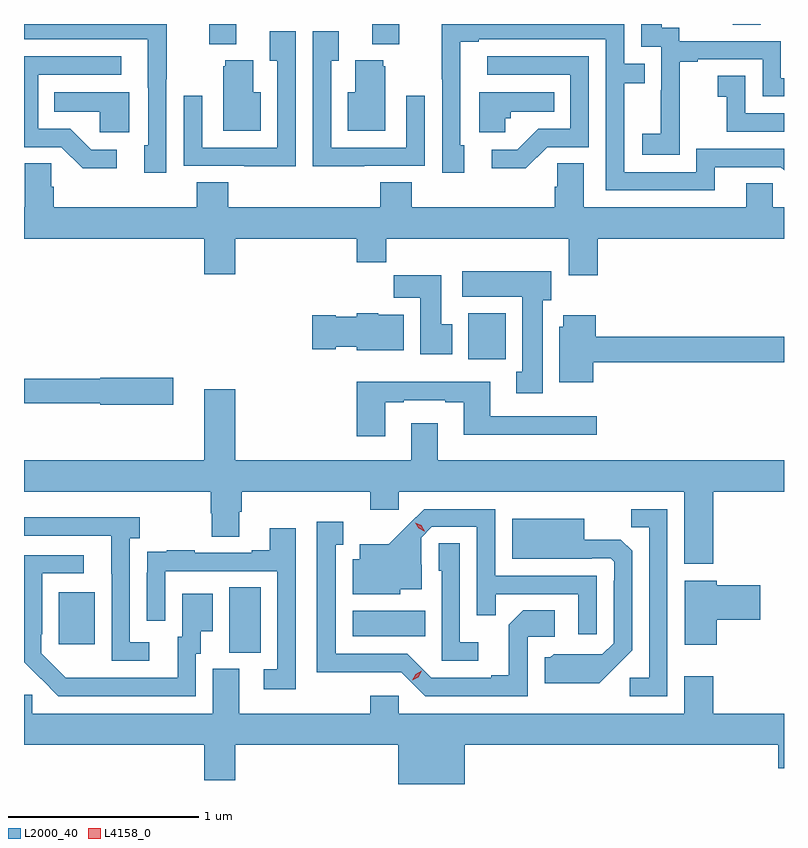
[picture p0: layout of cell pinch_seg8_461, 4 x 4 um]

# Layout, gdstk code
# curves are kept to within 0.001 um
import gdstk
lib = gdstk.Library(unit=1e-6, precision=1e-09)
def R(c, l, rs):  # rectangles x0, y0, x1, y1
    for r in rs: c.add(gdstk.rectangle(r[:2], r[2:], *l))
def P(c, l, *ps):  # polygons
    for p in ps: c.add(gdstk.Polygon(p, *l))
L2000_40 = (2000, 40)
L4158_0 = (4158, 0)

pinch_seg8_461 = lib.new_cell('pinch_seg8_461')
R(pinch_seg8_461, L2000_40, [(117.188,1128.973,117.352,1129.316), (116.291,1129.017,116.479,1129.291), (117.836,1129.058,118.22,1129.192), (118.445,1130.516,118.642,1130.758), (117.083,1132.175,117.223,1132.281), (117.941,1132.175,118.081,1132.281), (119.837,1132.276,119.985,1132.281)])
P(pinch_seg8_461, L2000_40, [(119.559,1131.799),(119.558,1131.799),(119.558,1132.083),(119.653,1132.083),(119.653,1132.095),(119.994,1132.095),(119.994,1131.9),(120.107,1131.9),(120.107,1131.996),(120.09,1131.996),(120.09,1132.191),(119.556,1132.191),(119.556,1132.26),(119.464,1132.26),(119.464,1132.281),(119.355,1132.281),(119.355,1132.161),(119.46,1132.161),(119.46,1131.932),(119.459,1131.932),(119.459,1131.703),(119.361,1131.703),(119.361,1131.593),(119.559,1131.593)],
  [(119.743,1131.528),(120.09,1131.528),(120.107,1131.511),(120.107,1131.624),(119.646,1131.624),(119.646,1131.501),(119.265,1131.501),(119.265,1131.97),(119.375,1131.97),(119.375,1132.071),(119.265,1132.071),(119.265,1132.281),(118.306,1132.281),(118.306,1131.991),(118.308,1131.991),(118.308,1131.498),(118.423,1131.498),(118.423,1131.642),(118.404,1131.642),(118.404,1132.188),(118.501,1132.188),(118.501,1132.2),(119.169,1132.2),(119.169,1131.405),(119.743,1131.405)],
  [(116.856,1131.991),(116.859,1131.991),(116.859,1132.281),(116.107,1132.281),(116.107,1132.2),(116.759,1132.2),(116.759,1131.946),(116.76,1131.946),(116.76,1131.642),(116.741,1131.642),(116.741,1131.498),(116.856,1131.498)],
  [(117.899,1131.534),(118.215,1131.534),(118.215,1131.904),(118.119,1131.904),(118.119,1131.63),(117.723,1131.63),(117.723,1132.087),(117.763,1132.087),(117.763,1132.243),(117.627,1132.243),(117.627,1131.533),(117.899,1131.533)],
  [(117.537,1132.243),(117.401,1132.243),(117.401,1132.087),(117.441,1132.087),(117.441,1131.63),(117.045,1131.63),(117.045,1131.904),(116.949,1131.904),(116.949,1131.534),(117.265,1131.534),(117.265,1131.533),(117.537,1131.533)],
  [(116.596,1131.618),(116.461,1131.618),(116.35,1131.729),(116.181,1131.729),(116.181,1132.014),(116.62,1132.014),(116.62,1132.11),(116.107,1132.11),(116.107,1131.633),(116.304,1131.633),(116.417,1131.521),(116.596,1131.521)],
  [(118.86,1131.633),(119.079,1131.633),(119.079,1132.11),(118.545,1132.11),(118.545,1132.014),(118.983,1132.014),(118.983,1131.729),(118.814,1131.729),(118.703,1131.618),(118.569,1131.618),(118.569,1131.521),(118.747,1131.521)],
  [(117.352,1131.922),(117.313,1131.922),(117.313,1132.09),(117.167,1132.09),(117.167,1132.059),(117.155,1132.059),(117.155,1131.719),(117.352,1131.719)],
  [(118.009,1132.059),(117.998,1132.059),(117.998,1132.09),(117.851,1132.09),(117.851,1131.922),(117.812,1131.922),(117.812,1131.719),(118.009,1131.719)],
  [(120.107,1131.81),(119.904,1131.81),(119.904,1132.009),(119.757,1132.009),(119.757,1131.899),(119.806,1131.899),(119.806,1131.714),(120.107,1131.714)],
  [(118.641,1131.786),(118.668,1131.786),(118.668,1131.818),(118.898,1131.818),(118.898,1131.922),(118.502,1131.922),(118.502,1131.71),(118.641,1131.71)],
  [(116.662,1131.922),(116.266,1131.922),(116.266,1131.818),(116.505,1131.818),(116.505,1131.71),(116.662,1131.71)],
  [(119.126,1131.152),(120.107,1131.152),(120.107,1131.316),(120.048,1131.316),(120.048,1131.443),(119.909,1131.443),(119.909,1131.316),(119.053,1131.316),(119.053,1131.548),(118.914,1131.548),(118.914,1131.425),(118.901,1131.425),(118.901,1131.316),(118.148,1131.316),(118.148,1131.449),(117.983,1131.449),(117.983,1131.316),(117.182,1131.316),(117.182,1131.449),(117.017,1131.449),(117.017,1131.316),(116.264,1131.316),(116.264,1131.425),(116.25,1131.425),(116.25,1131.548),(116.111,1131.548),(116.111,1131.316),(116.107,1131.316),(116.107,1131.152),(117.056,1131.152),(117.056,1130.964),(117.22,1130.964),(117.22,1131.152),(117.857,1131.152),(117.857,1131.028),(118.013,1131.028),(118.013,1131.152),(118.973,1131.152),(118.973,1130.958),(119.126,1130.958)],
  [(118.837,1130.826),(118.882,1130.826),(118.882,1130.98),(118.413,1130.98),(118.413,1130.846),(118.73,1130.846),(118.73,1130.45),(118.697,1130.45),(118.697,1130.337),(118.837,1130.337)],
  [(118.36,1130.7),(118.303,1130.7),(118.303,1130.959),(118.054,1130.959),(118.054,1130.84),(118.193,1130.84),(118.193,1130.544),(118.36,1130.544)],
  [(118.105,1130.752),(117.972,1130.752),(117.972,1130.758),(117.858,1130.758),(117.858,1130.74),(117.747,1130.74),(117.747,1130.748),(117.624,1130.748),(117.624,1130.57),(117.747,1130.57),(117.747,1130.582),(117.858,1130.582),(117.858,1130.564),(118.105,1130.564)],
  [(119.104,1130.5),(120.107,1130.5),(120.107,1130.636),(119.117,1130.636),(119.117,1130.749),(118.946,1130.749),(118.946,1130.688),(118.925,1130.688),(118.925,1130.396),(119.104,1130.396)],
  [(116.893,1130.42),(116.508,1130.42),(116.508,1130.414),(116.107,1130.414),(116.107,1130.286),(116.508,1130.286),(116.508,1130.278),(116.893,1130.278)],
  [(118.009,1130.289),(118.105,1130.289),(118.105,1130.301),(118.325,1130.301),(118.325,1130.289),(118.421,1130.289),(118.421,1130.12),(119.122,1130.12),(119.122,1130.217),(118.561,1130.217),(118.561,1130.398),(117.857,1130.398),(117.857,1130.112),(118.009,1130.112)],
  [(119.735,1129.82),(120.107,1129.82),(120.107,1129.984),(118.285,1129.984),(118.285,1130.179),(118.145,1130.179),(118.145,1129.984),(117.22,1129.984),(117.22,1130.359),(117.056,1130.359),(117.056,1129.984),(116.107,1129.984),(116.107,1129.82),(117.089,1129.82),(117.089,1129.707),(117.094,1129.707),(117.094,1129.582),(117.241,1129.582),(117.241,1129.714),(117.254,1129.714),(117.254,1129.82),(117.929,1129.82),(117.929,1129.725),(118.08,1129.725),(118.08,1129.82),(119.582,1129.82),(119.582,1129.44),(119.735,1129.44)],
  [(119.121,1129.377),(118.587,1129.377),(118.587,1129.728),(118.214,1129.728),(118.027,1129.543),(117.875,1129.543),(117.875,1129.465),(117.836,1129.465),(117.836,1129.28),(118.086,1129.28),(118.086,1129.307),(118.201,1129.307),(118.201,1129.436),(118.197,1129.436),(118.197,1129.578),(118.254,1129.635),(118.491,1129.635),(118.491,1129.168),(118.589,1129.168),(118.589,1129.281),(119.025,1129.281),(119.025,1129.068),(119.121,1129.068)],
  [(119.493,1129.728),(119.302,1129.728),(119.302,1129.633),(119.397,1129.633),(119.397,1128.84),(119.295,1128.84),(119.295,1128.744),(119.493,1128.744)],
  [(116.767,1129.026),(116.664,1129.026),(116.664,1129.574),(116.716,1129.574),(116.716,1129.684),(116.107,1129.684),(116.107,1129.587),(116.567,1129.587),(116.567,1129.387),(116.568,1129.387),(116.568,1128.93),(116.767,1128.93)],
  [(119.215,1128.893),(119.307,1128.986),(119.307,1129.508),(119.248,1129.567),(119.056,1129.567),(119.056,1129.678),(118.676,1129.678),(118.676,1129.466),(119.096,1129.466),(119.096,1129.47),(119.196,1129.47),(119.214,1129.452),(119.214,1129.352),(119.211,1129.352),(119.211,1129.023),(119.151,1128.963),(118.894,1128.964),(118.878,1128.948),(118.847,1128.948),(118.847,1128.812),(119.135,1128.812)],
  [(118.758,1129.056),(118.9,1129.056),(118.9,1129.196),(118.735,1129.196),(118.659,1129.12),(118.659,1128.853),(118.565,1128.853),(118.565,1128.84),(118.251,1128.84),(118.125,1128.966),(117.748,1128.966),(117.748,1129.539),(117.787,1129.539),(117.787,1129.66),(117.647,1129.66),(117.647,1128.869),(118.092,1128.87),(118.218,1128.744),(118.758,1128.744)],
  [(117.537,1129.627),(117.401,1129.627),(117.401,1129.51),(117.305,1129.51),(117.305,1129.497),(117.005,1129.497),(117.005,1129.51),(116.857,1129.51),(116.857,1129.503),(116.755,1129.503),(116.755,1129.394),(116.754,1129.394),(116.754,1129.14),(116.85,1129.14),(116.85,1129.401),(117.441,1129.401),(117.441,1128.885),(117.369,1128.885),(117.369,1128.78),(117.537,1128.78)],
  [(118.498,1129.027),(118.401,1129.027),(118.401,1129.547),(118.29,1129.547),(118.29,1129.404),(118.305,1129.404),(118.305,1128.93),(118.498,1128.93)],
  [(117.012,1128.966),(117.037,1128.966),(117.037,1129.085),(117.1,1129.085),(117.1,1129.282),(116.939,1129.282),(116.939,1129.056),(116.915,1129.056),(116.915,1128.84),(116.328,1128.841),(116.199,1128.969),(116.199,1129.069),(116.202,1129.069),(116.202,1129.389),(116.422,1129.389),(116.422,1129.485),(116.107,1129.485),(116.107,1128.923),(116.288,1128.744),(117.012,1128.744)],
  [(119.752,1129.145),(119.983,1129.145),(119.983,1129.328),(119.752,1129.328),(119.752,1129.351),(119.585,1129.351),(119.585,1129.014),(119.752,1129.014)],
  [(118.426,1128.488),(120.077,1128.488),(120.077,1128.364),(120.107,1128.364),(120.107,1128.652),(119.735,1128.652),(119.735,1128.847),(119.582,1128.847),(119.582,1128.652),(118.08,1128.652),(118.08,1128.745),(117.929,1128.745),(117.929,1128.652),(117.241,1128.652),(117.241,1128.888),(117.101,1128.888),(117.101,1128.652),(116.151,1128.652),(116.151,1128.75),(116.107,1128.75),(116.107,1128.488),(117.056,1128.488),(117.056,1128.3),(117.22,1128.3),(117.22,1128.488),(118.076,1128.488),(118.076,1128.281),(118.426,1128.281)])
P(pinch_seg8_461, L4158_0, [(118.214,1129.612),(118.184,1129.627),(118.166,1129.657),(118.166,1129.657),(118.166,1129.657),(118.197,1129.642),(118.215,1129.612),(118.215,1129.612)],
  [(118.151,1128.826),(118.151,1128.826),(118.168,1128.858),(118.2,1128.877),(118.2,1128.877),(118.2,1128.877),(118.183,1128.844),(118.151,1128.826)])

lib.write_gds('pinch_seg8_461.gds')
